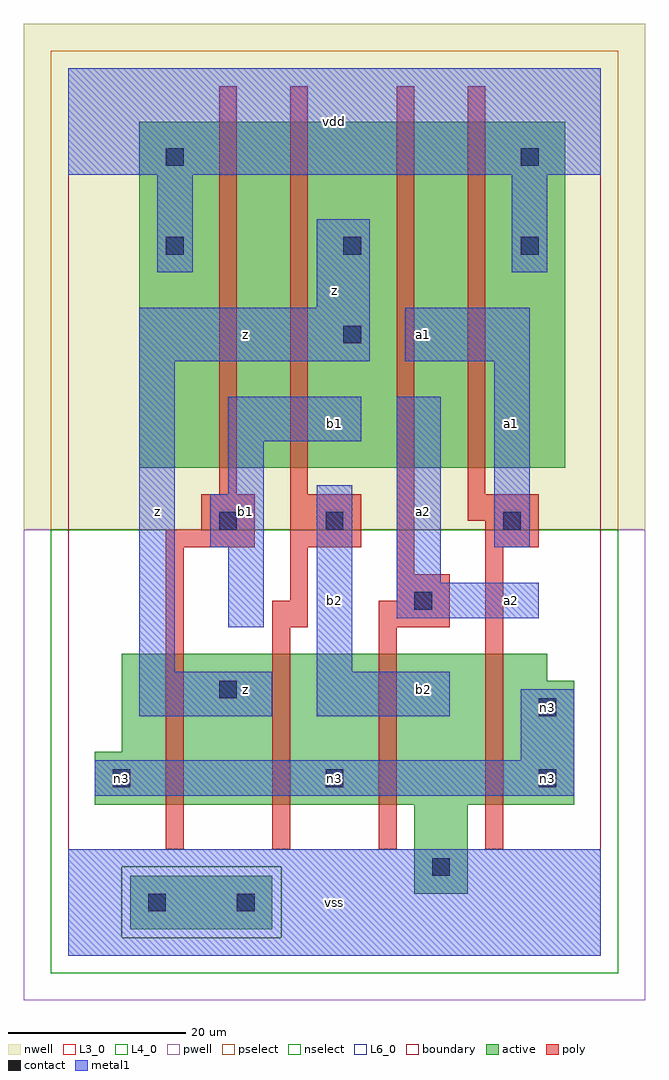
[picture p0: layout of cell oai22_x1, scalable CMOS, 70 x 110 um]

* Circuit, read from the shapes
.subckt oai22_x1 a1 a2 b1 b2 n3 vdd vss z
M1 z b1 n3 vss nfet w=17u l=2u
M2 n3 b2 z vss nfet w=17u l=2u
M3 vss a2 n3 vss nfet w=17u l=2u
M4 n3 a1 vss vss nfet w=17u l=2u
M5 n1 b1 vdd n2 pfet w=39u l=2u
M6 z b2 n1 n2 pfet w=39u l=2u
M7 n4 a2 z n2 pfet w=39u l=2u
M8 vdd a1 n4 n2 pfet w=39u l=2u
.ends

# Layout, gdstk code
import gdstk
lib = gdstk.Library(unit=1e-6, precision=1e-09)
def R(c, l, rs):  # rectangles x0, y0, x1, y1
    for r in rs: c.add(gdstk.rectangle(r[:2], r[2:], *l))
def A(c, l, x, y, w, h, nx, ny, dx, dy):  # array of equal rectangles
    R(c, l, [(x+i*dx, y+j*dy, x+i*dx+w, y+j*dy+h) for i in range(nx) for j in range(ny)])
L3_0 = (3, 0)
L4_0 = (4, 0)
L6_0 = (6, 0)
contact = (25, 0)
pwell = (41, 0)
nwell = (42, 0)
active = (43, 0)
pselect = (44, 0)
nselect = (45, 0)
poly = (46, 0)
metal1 = (49, 0)
boundary = (63, 0)

oai22_x1 = lib.new_cell('oai22_x1')
R(oai22_x1, L3_0, [(39,7,45,17), (3,17,57,23), (6,23,57,31), (6,31,54,34)])
R(oai22_x1, L4_0, [(8,55,56,94)])
R(oai22_x1, L6_0, [(7,3,23,9)])
A(oai22_x1, contact, 5, 19, 2, 2, 3, 1, 24, 0)
A(oai22_x1, contact, 11, 79, 2, 2, 3, 1, 20, 0)
R(oai22_x1, contact, [(9,5,11,7), (19,5,21,7), (41,9,43,11), (53,27,55,29), (17,29,19,31), (39,39,41,41), (17,48,19,50), (29,48,31,50), (49,48,51,50), (31,69,33,71), (11,89,13,91), (51,89,53,91)])
R(oai22_x1, pwell, [(-5,-5,65,48)])
R(oai22_x1, nwell, [(-5,48,65,105)])
R(oai22_x1, active, [(7,3,23,9), (39,7,45,17), (3,17,57,23), (6,23,57,31), (6,31,54,34), (8,55,56,94)])
R(oai22_x1, pselect, [(6,2,24,10), (-2,48,62,102)])
R(oai22_x1, nselect, [(-2,-2,62,2), (-2,2,6,10), (24,2,62,10), (-2,10,62,48)])
R(oai22_x1, poly, [(11,12,13,46), (23,12,25,37), (35,12,37,37), (47,12,49,46), (23,37,27,40), (35,37,43,40), (25,40,27,46), (37,40,43,43), (37,43,39,98), (11,46,21,48), (25,46,33,52), (47,46,53,49), (15,48,21,52), (45,49,53,52), (17,52,19,98), (25,52,27,98), (45,52,47,98)])
R(oai22_x1, metal1, [(0,0,60,12), (3,18,57,22), (51,22,57,30), (8,27,23,32), (28,27,43,32), (8,32,12,67), (28,32,32,53), (18,37,22,46), (37,38,53,42), (37,42,42,63), (16,46,22,52), (48,46,52,67), (18,52,22,58), (18,58,33,63), (8,67,34,73), (38,67,52,73), (28,73,34,83), (10,77,14,88), (50,77,54,88), (0,88,60,100)])
R(oai22_x1, boundary, [(0,0,60,100)])
oai22_x1.add(gdstk.Label('n3', (6,20), layer=49, texttype=0))
oai22_x1.add(gdstk.Label('n3', (30,20), layer=49, texttype=0))
oai22_x1.add(gdstk.Label('n3', (54,20), layer=49, texttype=0))
oai22_x1.add(gdstk.Label('n3', (54,28), layer=49, texttype=0))
oai22_x1.add(gdstk.Label('z', (10,50), layer=49, texttype=0))
oai22_x1.add(gdstk.Label('z', (20,30), layer=49, texttype=0))
oai22_x1.add(gdstk.Label('b1', (20,50), layer=49, texttype=0))
oai22_x1.add(gdstk.Label('z', (20,70), layer=49, texttype=0))
oai22_x1.add(gdstk.Label('vss', (30,6), layer=49, texttype=0))
oai22_x1.add(gdstk.Label('b2', (30,40), layer=49, texttype=0))
oai22_x1.add(gdstk.Label('b2', (40,30), layer=49, texttype=0))
oai22_x1.add(gdstk.Label('a2', (40,50), layer=49, texttype=0))
oai22_x1.add(gdstk.Label('b1', (30,60), layer=49, texttype=0))
oai22_x1.add(gdstk.Label('a1', (40,70), layer=49, texttype=0))
oai22_x1.add(gdstk.Label('z', (30,75), layer=49, texttype=0))
oai22_x1.add(gdstk.Label('vdd', (30,94), layer=49, texttype=0))
oai22_x1.add(gdstk.Label('a2', (50,40), layer=49, texttype=0))
oai22_x1.add(gdstk.Label('a1', (50,60), layer=49, texttype=0))

lib.write_gds('oai22_x1.gds')
